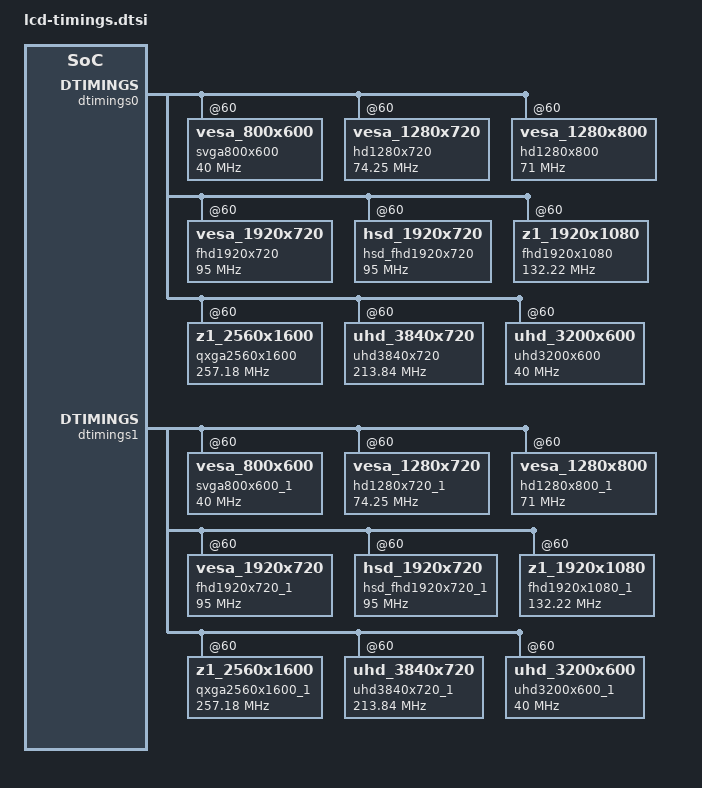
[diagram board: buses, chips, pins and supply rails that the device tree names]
&dtimings0 {
	native-mode = <&hd1280x720>;

	svga800x600: vesa_800x600@60 {
		clock-frequency = <40000000>;
		hactive = <800>;
		vactive = <600>;
		hback-porch = <88>;
		hfront-porch = <40>;
		vback-porch = <23>;
		vfront-porch = <1>;
		hsync-len = <128>;
		vsync-len = <4>;
	};

	hd1280x720: vesa_1280x720@60 {
		clock-frequency = <74250000>;
		hactive = <1280>;
		vactive = <720>;
		hback-porch = <220>;
		hfront-porch = <110>;
		vback-porch = <20>;
		vfront-porch = <5>;
		hsync-len = <40>;
		vsync-len = <5>;
	};

	hd1280x800: vesa_1280x800@60 {
		clock-frequency = <71000000>;
		hactive = <1280>;
		vactive = <800>;
		hback-porch = <80>;
		hfront-porch = <48>;
		vback-porch = <10>;
		vfront-porch = <10>;
		hsync-len = <32>;
		vsync-len = <3>;
	};

	fhd1920x720: vesa_1920x720@60 {
		clock-frequency = <95000000>;
		hactive = <1920>;
		vactive = <720>;
		hback-porch = <50>;
		hfront-porch = <50>;
		vback-porch = <15>;
		vfront-porch = <15>;
		hsync-len = <60>;
		vsync-len = <10>;
	};

	hsd_fhd1920x720: hsd_1920x720@60 {
		clock-frequency = <95000000>;
		hactive = <1920>;
		vactive = <720>;
		hback-porch = <40>;
		hfront-porch = <40>;
		vback-porch = <50>;
		vfront-porch = <50>;
		hsync-len = <40>;
		vsync-len = <10>;
	};

	fhd1920x1080: z1_1920x1080@60 {
		clock-frequency = <132220000>;
		hactive = <1920>;
		vactive = <1080>;
		hback-porch = <1>;
		hfront-porch = <39>;
		vback-porch = <1>;
		vfront-porch = <20>;
		hsync-len = <20>;
		vsync-len = <12>;
	};

	qxga2560x1600: z1_2560x1600@60 {
		clock-frequency =  <257180000>;
		hactive = <2560>;
		vactive = <1600>;
		hback-porch = <20>;
		hfront-porch = <2>;
		vback-porch = <15>;
		vfront-porch = <2>;
		hsync-len = <40>;
		vsync-len = <38>;
	};

	uhd3840x720: uhd_3840x720@60 {
		clock-frequency =  <213840000>;
		hactive = <3840>;
		vactive = <720>;
		hback-porch = <200>;
		hfront-porch = <200>;
		vback-porch = <35>;
		vfront-porch = <35>;
		hsync-len = <160>;
		vsync-len = <20>;
	};
	uhd3200x600: uhd_3200x600@60 {
		clock-frequency = <40000000>;
		hactive = <3200>;
		vactive = <600>;
		hback-porch = <352>;
		hfront-porch = <160>;
		vback-porch = <23>;
		vfront-porch = <1>;
		hsync-len = <512>;
		vsync-len = <4>;
	};
};

&dtimings1 {
	native-mode = <&hd1280x720_1>;

	svga800x600_1: vesa_800x600@60 {
		clock-frequency = <40000000>;
		hactive = <800>;
		vactive = <600>;
		hback-porch = <88>;
		hfront-porch = <40>;
		vback-porch = <23>;
		vfront-porch = <1>;
		hsync-len = <128>;
		vsync-len = <4>;
	};

	hd1280x720_1: vesa_1280x720@60 {
		clock-frequency = <74250000>;
		hactive = <1280>;
		vactive = <720>;
		hback-porch = <220>;
		hfront-porch = <110>;
		vback-porch = <20>;
		vfront-porch = <5>;
		hsync-len = <40>;
		vsync-len = <5>;
	};

	hd1280x800_1: vesa_1280x800@60 {
		clock-frequency = <71000000>;
		hactive = <1280>;
		vactive = <800>;
		hback-porch = <80>;
		hfront-porch = <48>;
		vback-porch = <10>;
		vfront-porch = <10>;
		hsync-len = <32>;
		vsync-len = <3>;
	};

	fhd1920x720_1: vesa_1920x720@60 {
		clock-frequency = <95000000>;
		hactive = <1920>;
		vactive = <720>;
		hback-porch = <50>;
		hfront-porch = <50>;
		vback-porch = <15>;
		vfront-porch = <15>;
		hsync-len = <60>;
		vsync-len = <10>;
	};

	hsd_fhd1920x720_1: hsd_1920x720@60 {
		clock-frequency = <95000000>;
		hactive = <1920>;
		vactive = <720>;
		hback-porch = <40>;
		hfront-porch = <40>;
		vback-porch = <50>;
		vfront-porch = <50>;
		hsync-len = <40>;
		vsync-len = <10>;
	};

	fhd1920x1080_1: z1_1920x1080@60 {
		clock-frequency = <132220000>;
		hactive = <1920>;
		vactive = <1080>;
		hback-porch = <1>;
		hfront-porch = <39>;
		vback-porch = <1>;
		vfront-porch = <20>;
		hsync-len = <20>;
		vsync-len = <12>;
	};

	qxga2560x1600_1: z1_2560x1600@60 {
		clock-frequency =  <257180000>;
		hactive = <2560>;
		vactive = <1600>;
		hback-porch = <20>;
		hfront-porch = <2>;
		vback-porch = <15>;
		vfront-porch = <2>;
		hsync-len = <40>;
		vsync-len = <38>;
	};

	uhd3840x720_1: uhd_3840x720@60 {
		clock-frequency =  <213840000>;
		hactive = <3840>;
		vactive = <720>;
		hback-porch = <200>;
		hfront-porch = <200>;
		vback-porch = <35>;
		vfront-porch = <35>;
		hsync-len = <160>;
		vsync-len = <20>;
	};
	uhd3200x600_1: uhd_3200x600@60 {
		clock-frequency = <40000000>;
		hactive = <3200>;
		vactive = <600>;
		hback-porch = <352>;
		hfront-porch = <160>;
		vback-porch = <23>;
		vfront-porch = <1>;
		hsync-len = <512>;
		vsync-len = <4>;
	};
};
